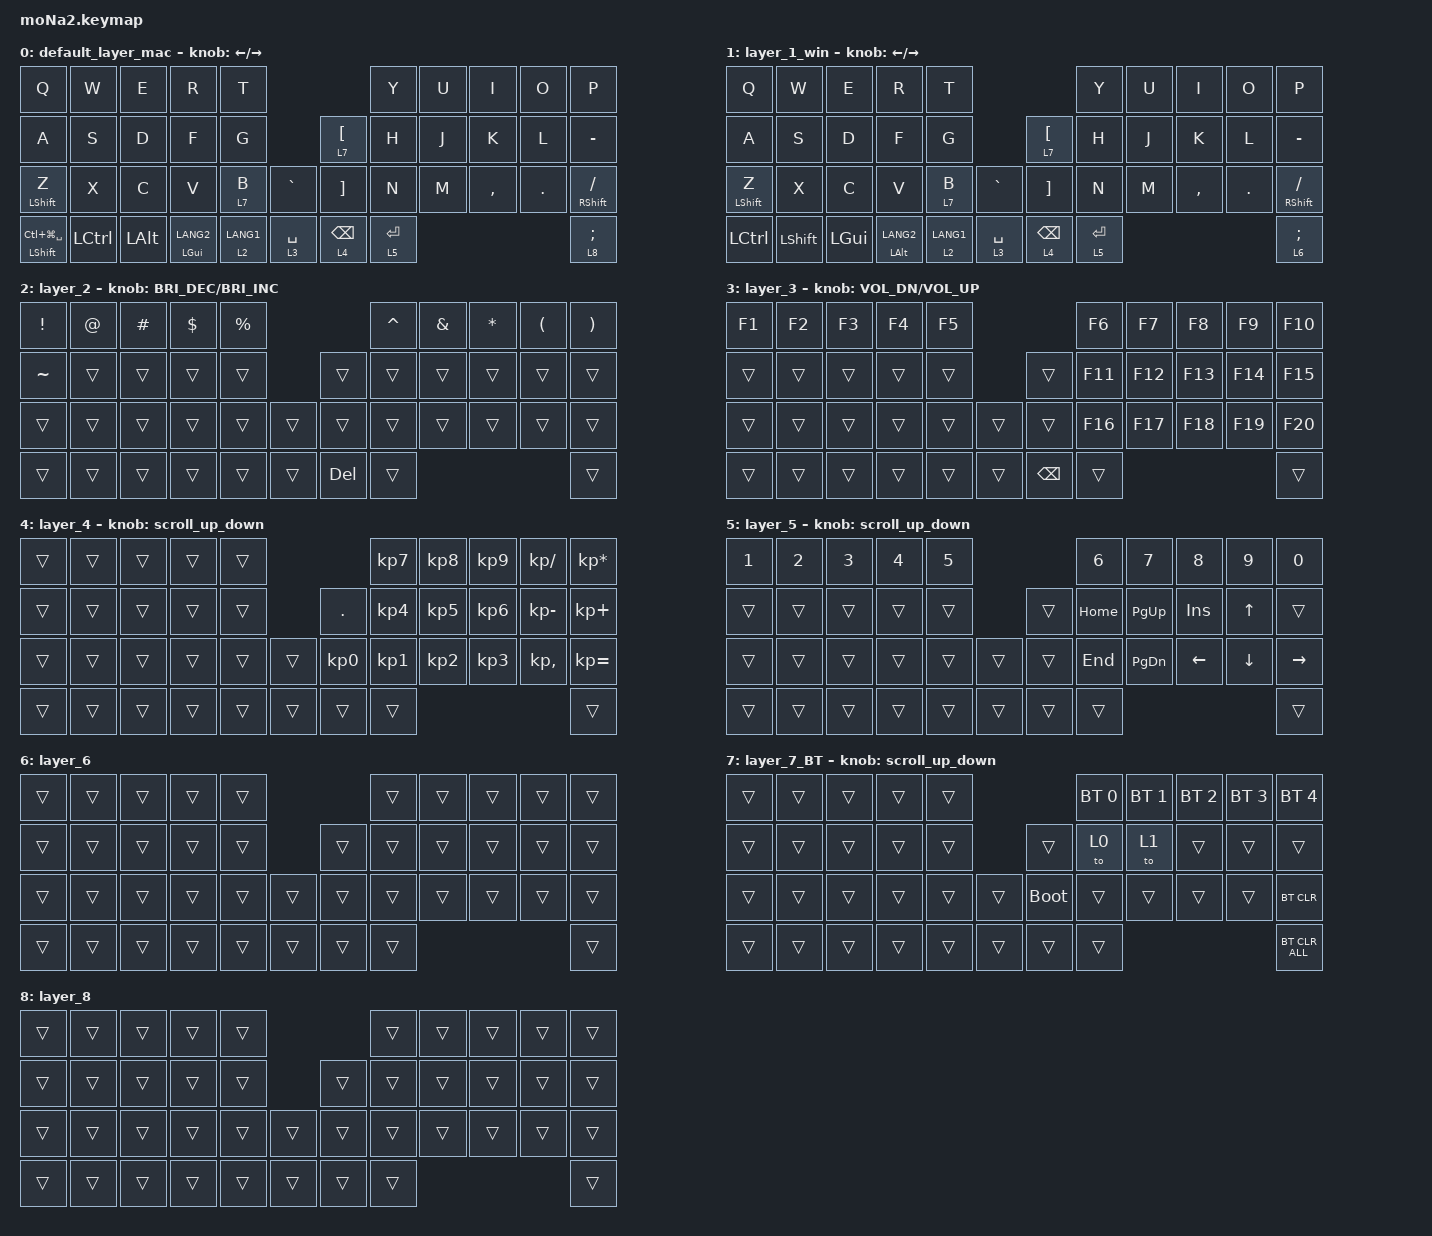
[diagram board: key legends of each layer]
#include <behaviors.dtsi>
#include <dt-bindings/zmk/bt.h>
#include <dt-bindings/zmk/keys.h>
#include <dt-bindings/zmk/pointing.h>

#define ZMK_POINTING_DEFAULT_SCRL_VAL 100
#define MOUSE 5
#define SCROLL 6

&mt {
    flavor = "balanced";
    quick-tap-ms = <0>;
};

&lt { tapping-term-ms = <150>; };

/ {
    combos {
        compatible = "zmk,combos";

        Tab {
            bindings = <&kp TAB>;
            key-positions = <10 11>;
        };

        Escape {
            bindings = <&kp ESCAPE>;
            key-positions = <0 1>;
        };

        Caps {
            bindings = <&kp CAPSLOCK>;
            key-positions = <21 22>;
        };

        Pype {
            bindings = <&kp PIPE>;
            key-positions = <15 27>;
        };

        Sqt {
            bindings = <&kp SQT>;
            key-positions = <20 19>;
        };

        mb1 {
            bindings = <&mkp MB1>;
            key-positions = <17 18>;
        };

        mb2 {
            bindings = <&mkp MB2>;
            key-positions = <18 19>;
        };

        mb3 {
            bindings = <&mkp MB3>;
            key-positions = <17 18 19>;
        };

        mb4 {
            bindings = <&mkp MB4>;
            key-positions = <6 7>;
        };

        mb5 {
            bindings = <&mkp MB5>;
            key-positions = <7 8>;
        };

        layer6 {
            bindings = <&mo 6>;
            key-positions = <8 9>;
        };
    };

    macros {
        to_layer_0: to_layer_0 {
            compatible = "zmk,behavior-macro-one-param";
            #binding-cells = <1>;
            bindings = <&to 0 &macro_param_1to1 &kp MACRO_PLACEHOLDER>;
            label = "TO_LAYER_0";
        };
    };

    behaviors {
        lt_to_layer_0: lt_to_layer_0 {
            compatible = "zmk,behavior-hold-tap";
            label = "LAYER_TAP_TO_0";
            bindings = <&mo>, <&to_layer_0>;

            #binding-cells = <2>;
            tapping-term-ms = <200>;
        };

        scroll_up_down: behavior_sensor_rotate_mouse_wheel_up_down {
            compatible = "zmk,behavior-sensor-rotate";
            #sensor-binding-cells = <0>;
            bindings = <&msc SCRL_UP>, <&msc SCRL_DOWN>;

            tap-ms = <20>;
        };
    };

    keymap {
        compatible = "zmk,keymap";

        default_layer_mac {
            bindings = <
&kp Q                         &kp W             &kp E         &kp R               &kp T                                           &kp Y        &kp U  &kp I      &kp O    &kp P
&kp A                         &kp S             &kp D         &kp F               &kp G                       &lt 7 LEFT_BRACKET  &kp H        &kp J  &kp K      &kp L    &kp MINUS
&mt LEFT_SHIFT Z              &kp X             &kp C         &kp V               &lt 7 B      &kp GRAVE      &kp RIGHT_BRACKET   &kp N        &kp M  &kp COMMA  &kp DOT  &mt RIGHT_SHIFT SLASH
&mt LEFT_SHIFT LC(LG(SPACE))  &kp LEFT_CONTROL  &kp LEFT_ALT  &mt LEFT_GUI LANG2  &lt 2 LANG1  &lt 3 SPACE    &lt 4 BACKSPACE     &lt 5 ENTER                             &lt 8 SEMICOLON
            >;

            sensor-bindings = <&inc_dec_kp LEFT RIGHT>;
        };

        layer_1_win {
            bindings = <
&kp Q             &kp W           &kp E         &kp R               &kp T                                           &kp Y        &kp U  &kp I      &kp O    &kp P
&kp A             &kp S           &kp D         &kp F               &kp G                       &lt 7 LEFT_BRACKET  &kp H        &kp J  &kp K      &kp L    &kp MINUS
&mt LEFT_SHIFT Z  &kp X           &kp C         &kp V               &lt 7 B      &kp GRAVE      &kp RIGHT_BRACKET   &kp N        &kp M  &kp COMMA  &kp DOT  &mt RIGHT_SHIFT SLASH
&kp LEFT_CONTROL  &kp LEFT_SHIFT  &kp LEFT_GUI  &mt LEFT_ALT LANG2  &lt 2 LANG1  &lt 3 SPACE    &lt 4 BACKSPACE     &lt 5 ENTER                             &lt 6 SEMICOLON
            >;

            sensor-bindings = <&inc_dec_kp LEFT RIGHT>;
        };

        layer_2 {
            bindings = <
&kp EXCLAMATION  &kp AT_SIGN  &kp HASH  &kp DOLLAR  &kp PERCENT                     &kp CARET  &kp AMPERSAND  &kp ASTERISK  &kp LEFT_PARENTHESIS  &kp RIGHT_PARENTHESIS
&kp TILDE        &trans       &trans    &trans      &trans                 &trans   &trans     &trans         &trans        &trans                &trans
&trans           &trans       &trans    &trans      &trans       &trans    &trans   &trans     &trans         &trans        &trans                &trans
&trans           &trans       &trans    &trans      &trans       &trans    &kp DEL  &trans                                                        &trans
            >;

            sensor-bindings = <&inc_dec_kp C_BRIGHTNESS_DEC C_BRIGHTNESS_INC>;
        };

        layer_3 {
            bindings = <
&kp F1  &kp F2  &kp F3  &kp F4  &kp F5                           &kp F6   &kp F7   &kp F8   &kp F9   &kp F10
&trans  &trans  &trans  &trans  &trans            &trans         &kp F11  &kp F12  &kp F13  &kp F14  &kp F15
&trans  &trans  &trans  &trans  &trans  &trans    &trans         &kp F16  &kp F17  &kp F18  &kp F19  &kp F20
&trans  &trans  &trans  &trans  &trans  &trans    &kp BACKSPACE  &trans                              &trans
            >;

            sensor-bindings = <&inc_dec_kp C_VOL_DN C_VOL_UP>;
        };

        layer_4 {
            bindings = <
&trans  &trans  &trans  &trans  &trans                             &kp KP_NUMBER_7  &kp KP_NUMBER_8  &kp KP_NUMBER_9  &kp KP_DIVIDE  &kp KP_ASTERISK
&trans  &trans  &trans  &trans  &trans            &kp DOT          &kp KP_NUMBER_4  &kp KP_NUMBER_5  &kp KP_NUMBER_6  &kp KP_MINUS   &kp KP_PLUS
&trans  &trans  &trans  &trans  &trans  &trans    &kp KP_NUMBER_0  &kp KP_NUMBER_1  &kp KP_NUMBER_2  &kp KP_NUMBER_3  &kp KP_COMMA   &kp KP_EQUAL
&trans  &trans  &trans  &trans  &trans  &trans    &trans           &trans                                                            &trans
            >;

            sensor-bindings = <&scroll_up_down>;
        };

        layer_5 {
            bindings = <
&kp N1  &kp N2  &kp N3  &kp N4  &kp N5                    &kp N6    &kp N7     &kp N8    &kp N9    &kp N0
&trans  &trans  &trans  &trans  &trans            &trans  &kp HOME  &kp PG_UP  &kp INS   &kp UP    &trans
&trans  &trans  &trans  &trans  &trans  &trans    &trans  &kp END   &kp PG_DN  &kp LEFT  &kp DOWN  &kp RIGHT
&trans  &trans  &trans  &trans  &trans  &trans    &trans  &trans                                   &trans
            >;

            sensor-bindings = <&scroll_up_down>;
        };

        layer_6 {
            bindings = <
&trans  &trans  &trans  &trans  &trans                    &trans  &trans  &trans  &trans  &trans
&trans  &trans  &trans  &trans  &trans            &trans  &trans  &trans  &trans  &trans  &trans
&trans  &trans  &trans  &trans  &trans  &trans    &trans  &trans  &trans  &trans  &trans  &trans
&trans  &trans  &trans  &trans  &trans  &trans    &trans  &trans                          &trans
            >;
        };

        layer_7_BT {
            bindings = <
&trans  &trans  &trans  &trans  &trans                         &bt BT_SEL 0  &bt BT_SEL 1  &bt BT_SEL 2  &bt BT_SEL 3  &bt BT_SEL 4
&trans  &trans  &trans  &trans  &trans            &trans       &to 0         &to 1         &trans        &trans        &trans
&trans  &trans  &trans  &trans  &trans  &trans    &bootloader  &trans        &trans        &trans        &trans        &bt BT_CLR
&trans  &trans  &trans  &trans  &trans  &trans    &trans       &trans                                                  &bt BT_CLR_ALL
            >;

            sensor-bindings = <&scroll_up_down>;
        };

        layer_8 {
            bindings = <
&trans  &trans  &trans  &trans  &trans                    &trans  &trans  &trans  &trans  &trans
&trans  &trans  &trans  &trans  &trans            &trans  &trans  &trans  &trans  &trans  &trans
&trans  &trans  &trans  &trans  &trans  &trans    &trans  &trans  &trans  &trans  &trans  &trans
&trans  &trans  &trans  &trans  &trans  &trans    &trans  &trans                          &trans
            >;
        };
    };
};
